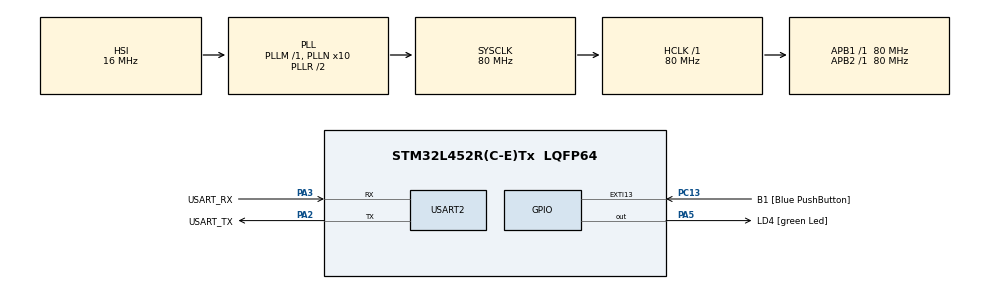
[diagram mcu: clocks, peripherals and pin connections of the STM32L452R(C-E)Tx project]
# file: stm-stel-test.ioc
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Mcu.Family=STM32L4
Mcu.Name=STM32L452R(C-E)Tx
Mcu.Package=LQFP64
NVIC.PriorityGroup=NVIC_PRIORITYGROUP_4
PA13\ (JTMS/SWDIO).GPIO_Label=TMS
PA13\ (JTMS/SWDIO).Mode=Serial_Wire
PA13\ (JTMS/SWDIO).Signal=SYS_JTMS-SWDIO
PA14\ (JTCK/SWCLK).GPIO_Label=TCK
PA14\ (JTCK/SWCLK).Mode=Serial_Wire
PA14\ (JTCK/SWCLK).Signal=SYS_JTCK-SWCLK
PA2.GPIO_Label=USART_TX
PA2.GPIO_Mode=GPIO_MODE_AF_PP
PA2.GPIO_PuPd=GPIO_NOPULL
PA2.GPIO_Speed=GPIO_SPEED_FREQ_VERY_HIGH
PA2.Mode=Asynchronous
PA2.Signal=USART2_TX
PA3.GPIO_Label=USART_RX
PA3.GPIO_Mode=GPIO_MODE_AF_PP
PA3.GPIO_PuPd=GPIO_NOPULL
PA3.GPIO_Speed=GPIO_SPEED_FREQ_VERY_HIGH
PA3.Mode=Asynchronous
PA3.Signal=USART2_RX
PA5.GPIO_Label=LD4 [green Led]
PA5.GPIO_ModeDefaultOutputPP=GPIO_MODE_OUTPUT_PP
PA5.GPIO_PuPd=GPIO_NOPULL
PA5.GPIO_Speed=GPIO_SPEED_FREQ_LOW
PA5.Signal=GPIO_Output
PB3\ (JTDO/TRACESWO).GPIO_Label=SWO
PB3\ (JTDO/TRACESWO).Signal=SYS_JTDO-SWO
PC13.GPIO_Label=B1 [Blue PushButton]
PC13.GPIO_ModeDefaultEXTI=GPIO_MODE_IT_FALLING
PC13.GPIO_PuPd=GPIO_NOPULL
PC13.Signal=GPXTI13
PC14-OSC32_IN\ (PC14).Mode=LSE-External-Oscillator
PC14-OSC32_IN\ (PC14).Signal=RCC_OSC32_IN
PC15-OSC32_OUT\ (PC15).Mode=LSE-External-Oscillator
PC15-OSC32_OUT\ (PC15).Signal=RCC_OSC32_OUT
PH0-OSC_IN\ (PH0).Signal=RCC_OSC_IN
PH1-OSC_OUT\ (PH1).Signal=RCC_OSC_OUT
ProjectManager.HeapSize=0x200
ProjectManager.StackSize=0x400
ProjectManager.TargetToolchain=STM32CubeIDE
RCC.ADCFreq_Value=64000000
RCC.AHBFreq_Value=80000000
RCC.APB1Freq_Value=80000000
RCC.APB1TimFreq_Value=80000000
RCC.APB2Freq_Value=80000000
RCC.APB2TimFreq_Value=80000000
RCC.CortexFreq_Value=80000000
RCC.HCLKFreq_Value=80000000
RCC.HSE_VALUE=8000000
RCC.HSI48_VALUE=48000000
RCC.HSI_VALUE=16000000
RCC.MSI_VALUE=4000000
RCC.PLLN=10
RCC.PLLSourceVirtual=RCC_PLLSOURCE_HSI
RCC.PREFETCH_ENABLE=1
RCC.SYSCLKFreq_VALUE=80000000
RCC.SYSCLKSource=RCC_SYSCLKSOURCE_PLLCLK
RCC.USBFreq_Value=64000000
RCC.VCOOutputFreq_Value=160000000
USART2.VirtualMode-Asynchronous=VM_ASYNC
board=NUCLEO-L452RE

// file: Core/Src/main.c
/* USER CODE BEGIN Header */
/**
  ******************************************************************************
  * @file           : main.c
  * @brief          : Main program body
  ******************************************************************************
  * @attention
  *
  * Copyright (c) 2023 STMicroelectronics.
  * All rights reserved.
  *
  * This software is licensed under terms that can be found in the LICENSE file
  * in the root directory of this software component.
  * If no LICENSE file comes with this software, it is provided AS-IS.
  *
  ******************************************************************************
  * Date completed: Jul 3, 2023
  * Celine Kwan
  * This connects to Stellarium -> sends a RA and DEC string to stellarium
  * when telescope control is activated -> shows a FOV
  */
/* USER CODE END Header */
#include "main.h"

/* USER CODE BEGIN Includes */
#include <stdio.h>
#include <stdlib.h>
#include <string.h>
/* USER CODE END Includes */

UART_HandleTypeDef huart2;

/* USER CODE BEGIN PV */
char ra_str[9];
char dec_str[10];
char * buf1_stel;
char * buf2_stel;
char * buf3_stel;
char stel_cmds[5] = {0};

int temp;
HAL_StatusTypeDef status;
HAL_StatusTypeDef status_transmit_ra;
HAL_StatusTypeDef status_transmit_dec;

int random_counter = 0;
int sizeof_ra = 0;
/* USER CODE END PV */

void SystemClock_Config(void);
static void MX_GPIO_Init(void);
static void MX_USART2_UART_Init(void);
/* USER CODE BEGIN PFP */
int result1;
int result2;

// init buffer elements to all 0
void init_buf123() {
  	temp = sizeof(buf1_stel);
  	for (int i=0; i<sizeof(buf1_stel); i++) {
  		buf1_stel[i] = 0;
  		buf2_stel[i] = 0;
  		buf3_stel[i] = 0;
  	}
}

/* USER CODE END PFP */

int main(void)
{

  /* MCU Configuration--------------------------------------------------------*/

  /* Reset of all peripherals, Initializes the Flash interface and the Systick. */
  HAL_Init();

  /* Configure the system clock */
  SystemClock_Config();

  /* Initialize all configured peripherals */
  MX_GPIO_Init();
  MX_USART2_UART_Init();
  /* USER CODE BEGIN 2 */

  	buf1_stel = malloc(128);
  	buf2_stel = malloc(128);
  	buf3_stel = malloc(128);

  	char *pound = "#";
  	char *pos = "+";
  	char *neg = "-";

  	init_buf123();

	// HH MM SS for RA
	unsigned short ra_hh = 19;
	unsigned short ra_mm = 50;
	double ra_ss = 49.1324;

	// DD MM SS for DEC
	unsigned short dec_neg = 0;
	unsigned short dec_dd = 8;
	unsigned short dec_mm = 52;
	double dec_ss = 15.235;

  /* USER CODE END 2 */

  /* Infinite loop */
  while (1)
  {

    /* USER CODE BEGIN 3 */

	// concatenate to the full RA string
	snprintf(buf1_stel, 128, "%u", ra_hh);
	snprintf(buf2_stel, 128, "%u", ra_mm);
	//	snprintf(buf3, 128, "% .4f", ra_ss);
	snprintf(buf3_stel, 128, "%u", (short)ra_ss);

	if (ra_hh < 10) { strcat(ra_str,"0");}
	strcpy(ra_str,buf1_stel);
	strcat(ra_str,":");
	if (ra_mm < 10) { strcat(ra_str,"0");}
	strcat(ra_str,buf2_stel);
	strcat(ra_str,":");
	if (ra_ss < 10) { strcat(ra_str,"0");}
	strcat(ra_str,buf3_stel);
	strcat(ra_str,pound);

	// clear buffers
	init_buf123();

	// concatenate to the full DEC string
	snprintf(buf1_stel, 128, "%u", dec_dd);
	snprintf(buf2_stel, 128, "%u", dec_mm);
	snprintf(buf3_stel, 128, "%u", (short)dec_ss);

	if (dec_neg == 0) { strcpy(dec_str,pos); }
	else { strcpy(dec_str,neg); }
	if (dec_dd < 10) { strcat(dec_str,"0");}
	strcat(dec_str,buf1_stel);
	strcat(dec_str,"\'");
	if (dec_mm < 10) { strcat(dec_str,"0");}
	strcat(dec_str,buf2_stel);
	strcat(dec_str,":");
	if (dec_ss < 10) { strcat(dec_str,"0");}
	strcat(dec_str,buf3_stel);
	strcat(dec_str,pound);

	  // Detect commands from Stellarium *****************************************************************
	  status = HAL_UART_Receive(&huart2, (uint8_t*)stel_cmds, sizeof(stel_cmds), 1000);
	  random_counter++;

	  if (status == HAL_TIMEOUT) {
		  random_counter++; // for breakpoint/debugging
	  } else if (status == HAL_ERROR) {
		  random_counter++;
	  } else if (status == HAL_BUSY) {
		  random_counter++;
	  } else if (status == HAL_OK) {

		  result1 = strcmp(stel_cmds, "#:GR#");
		  result2 = strcmp(stel_cmds, "#:GD#");

		  sizeof_ra = sizeof(ra_str);

		  if (result1==0) {
			  status_transmit_ra = HAL_UART_Transmit(&huart2, (uint8_t*)ra_str, sizeof(ra_str), 10);
			  ra_mm += 5;
			  random_counter ++ ;
		  }

		  if (result2==0) {
			  status_transmit_dec = HAL_UART_Transmit(&huart2, (uint8_t*)dec_str, sizeof(dec_str), 10);
			  dec_mm += 5;
			  random_counter ++ ;
		  }

	  }

	  // clear buffer
	  for (int i=0; i<5; i++) {
		  stel_cmds[i] = 0;
	  }

  }
  /* USER CODE END 3 */
}

void SystemClock_Config(void)
{
  RCC_OscInitTypeDef RCC_OscInitStruct = {0};
  RCC_ClkInitTypeDef RCC_ClkInitStruct = {0};

  /** Configure the main internal regulator output voltage
  */
  if (HAL_PWREx_ControlVoltageScaling(PWR_REGULATOR_VOLTAGE_SCALE1) != HAL_OK)
  {
    Error_Handler();
  }

  /** Initializes the RCC Oscillators according to the specified parameters
  * in the RCC_OscInitTypeDef structure.
  */
  RCC_OscInitStruct.OscillatorType = RCC_OSCILLATORTYPE_HSI;
  RCC_OscInitStruct.HSIState = RCC_HSI_ON;
  RCC_OscInitStruct.HSICalibrationValue = RCC_HSICALIBRATION_DEFAULT;
  RCC_OscInitStruct.PLL.PLLState = RCC_PLL_ON;
  RCC_OscInitStruct.PLL.PLLSource = RCC_PLLSOURCE_HSI;
  RCC_OscInitStruct.PLL.PLLM = 1;
  RCC_OscInitStruct.PLL.PLLN = 10;
  RCC_OscInitStruct.PLL.PLLP = RCC_PLLP_DIV7;
  RCC_OscInitStruct.PLL.PLLQ = RCC_PLLQ_DIV2;
  RCC_OscInitStruct.PLL.PLLR = RCC_PLLR_DIV2;
  if (HAL_RCC_OscConfig(&RCC_OscInitStruct) != HAL_OK)
  {
    Error_Handler();
  }

  /** Initializes the CPU, AHB and APB buses clocks
  */
  RCC_ClkInitStruct.ClockType = RCC_CLOCKTYPE_HCLK|RCC_CLOCKTYPE_SYSCLK
                              |RCC_CLOCKTYPE_PCLK1|RCC_CLOCKTYPE_PCLK2;
  RCC_ClkInitStruct.SYSCLKSource = RCC_SYSCLKSOURCE_PLLCLK;
  RCC_ClkInitStruct.AHBCLKDivider = RCC_SYSCLK_DIV1;
  RCC_ClkInitStruct.APB1CLKDivider = RCC_HCLK_DIV1;
  RCC_ClkInitStruct.APB2CLKDivider = RCC_HCLK_DIV1;

  if (HAL_RCC_ClockConfig(&RCC_ClkInitStruct, FLASH_LATENCY_4) != HAL_OK)
  {
    Error_Handler();
  }
}

static void MX_USART2_UART_Init(void)
{

  huart2.Instance = USART2;
  huart2.Init.BaudRate = 115200;
  huart2.Init.WordLength = UART_WORDLENGTH_8B;
  huart2.Init.StopBits = UART_STOPBITS_1;
  huart2.Init.Parity = UART_PARITY_NONE;
  huart2.Init.Mode = UART_MODE_TX_RX;
  huart2.Init.HwFlowCtl = UART_HWCONTROL_NONE;
  huart2.Init.OverSampling = UART_OVERSAMPLING_16;
  huart2.Init.OneBitSampling = UART_ONE_BIT_SAMPLE_DISABLE;
  huart2.AdvancedInit.AdvFeatureInit = UART_ADVFEATURE_NO_INIT;
  if (HAL_UART_Init(&huart2) != HAL_OK)
  {
    Error_Handler();
  }

}

static void MX_GPIO_Init(void)
{
  GPIO_InitTypeDef GPIO_InitStruct = {0};

  /* GPIO Ports Clock Enable */
  __HAL_RCC_GPIOC_CLK_ENABLE();
  __HAL_RCC_GPIOH_CLK_ENABLE();
  __HAL_RCC_GPIOA_CLK_ENABLE();
  __HAL_RCC_GPIOB_CLK_ENABLE();

  /*Configure GPIO pin Output Level */
  HAL_GPIO_WritePin(LD4_GPIO_Port, LD4_Pin, GPIO_PIN_RESET);

  /*Configure GPIO pin : B1_Pin */
  GPIO_InitStruct.Pin = B1_Pin;
  GPIO_InitStruct.Mode = GPIO_MODE_IT_FALLING;
  GPIO_InitStruct.Pull = GPIO_NOPULL;
  HAL_GPIO_Init(B1_GPIO_Port, &GPIO_InitStruct);

  /*Configure GPIO pin : LD4_Pin */
  GPIO_InitStruct.Pin = LD4_Pin;
  GPIO_InitStruct.Mode = GPIO_MODE_OUTPUT_PP;
  GPIO_InitStruct.Pull = GPIO_NOPULL;
  GPIO_InitStruct.Speed = GPIO_SPEED_FREQ_LOW;
  HAL_GPIO_Init(LD4_GPIO_Port, &GPIO_InitStruct);

}

void Error_Handler(void)
{
  __disable_irq();
  while (1)
  {
  }
}
